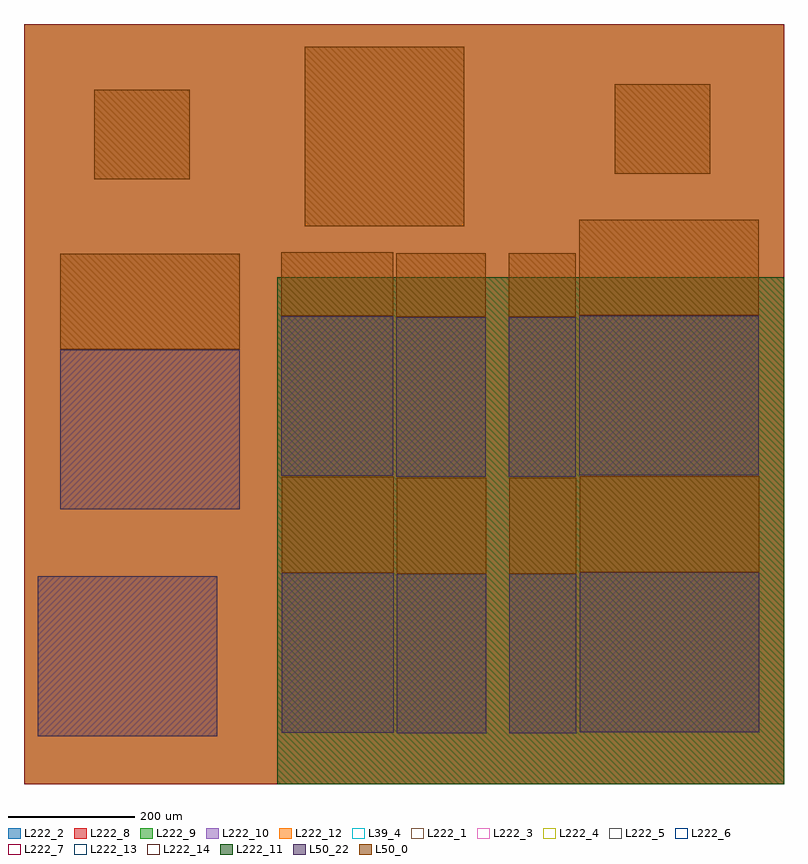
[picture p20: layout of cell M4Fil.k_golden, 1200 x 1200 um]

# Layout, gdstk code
import gdstk
lib = gdstk.Library(unit=1e-6, precision=1e-09)
def R(c, l, rs):  # rectangles x0, y0, x1, y1
    for r in rs: c.add(gdstk.rectangle(r[:2], r[2:], *l))
def A(c, l, x, y, w, h, nx, ny, dx, dy):  # array of equal rectangles
    R(c, l, [(x+i*dx, y+j*dy, x+i*dx+w, y+j*dy+h) for i in range(nx) for j in range(ny)])
L39_4 = (39, 4)
L50_0 = (50, 0)
L50_22 = (50, 22)
L222_1 = (222, 1)
L222_2 = (222, 2)
L222_3 = (222, 3)
L222_4 = (222, 4)
L222_5 = (222, 5)
L222_6 = (222, 6)
L222_7 = (222, 7)
L222_8 = (222, 8)
L222_9 = (222, 9)
L222_10 = (222, 10)
L222_11 = (222, 11)
L222_12 = (222, 12)
L222_13 = (222, 13)
L222_14 = (222, 14)

m4fil_k_golden = lib.new_cell('M4Fil.k_golden')
R(m4fil_k_golden, L39_4, [(0,0,1200,1200)])
A(m4fil_k_golden, L50_0, 588.553, 332.34, 35, 50, 4, 3, 35.5, 50.5)
A(m4fil_k_golden, L50_0, 766.053, 332.34, 35, 50, 3, 3, 35.5, 50.5)
A(m4fil_k_golden, L50_0, 406.703, 333.772, 35, 50, 5, 3, 35.5, 50.5)
A(m4fil_k_golden, L50_0, 877.169, 334.577, 35, 50, 8, 3, 35.5, 50.5)
A(m4fil_k_golden, L50_0, 56.984, 686.085, 35, 50, 8, 3, 35.5, 50.5)
A(m4fil_k_golden, L50_0, 587.855, 737.78, 35, 50, 4, 2, 35.5, 50.5)
A(m4fil_k_golden, L50_0, 765.355, 737.78, 35, 50, 3, 2, 35.5, 50.5)
A(m4fil_k_golden, L50_0, 406.005, 739.212, 35, 50, 5, 2, 35.5, 50.5)
A(m4fil_k_golden, L50_0, 876.471, 740.017, 35, 50, 8, 3, 35.5, 50.5)
A(m4fil_k_golden, L50_0, 443.264, 880.395, 50, 35, 5, 8, 50.5, 35.5)
A(m4fil_k_golden, L50_0, 110.744, 954.8, 50, 35, 3, 4, 50.5, 35.5)
A(m4fil_k_golden, L50_0, 932.374, 963.235, 50, 35, 3, 4, 50.5, 35.5)
A(m4fil_k_golden, L50_22, 21.749, 75.685, 35, 50, 8, 5, 35.5, 50.5)
A(m4fil_k_golden, L50_22, 588.553, 79.84, 35, 50, 4, 5, 35.5, 50.5)
A(m4fil_k_golden, L50_22, 766.053, 79.84, 35, 50, 3, 5, 35.5, 50.5)
A(m4fil_k_golden, L50_22, 406.703, 81.272, 35, 50, 5, 5, 35.5, 50.5)
A(m4fil_k_golden, L50_22, 877.169, 82.077, 35, 50, 8, 5, 35.5, 50.5)
A(m4fil_k_golden, L50_22, 56.984, 433.585, 35, 50, 8, 5, 35.5, 50.5)
A(m4fil_k_golden, L50_22, 587.855, 485.28, 35, 50, 4, 5, 35.5, 50.5)
A(m4fil_k_golden, L50_22, 765.355, 485.28, 35, 50, 3, 5, 35.5, 50.5)
A(m4fil_k_golden, L50_22, 406.005, 486.712, 35, 50, 5, 5, 35.5, 50.5)
A(m4fil_k_golden, L50_22, 876.471, 487.517, 35, 50, 8, 5, 35.5, 50.5)
R(m4fil_k_golden, L222_1, [(0,0,1200,1200)])
R(m4fil_k_golden, L222_2, [(0,0,800,800), (400,0,1200,800), (0,400,800,1200), (400,400,1200,1200)])
R(m4fil_k_golden, L222_3, [(0,0,1200,1200)])
R(m4fil_k_golden, L222_4, [(0,0,1200,1200)])
R(m4fil_k_golden, L222_5, [(0,0,1200,1200)])
R(m4fil_k_golden, L222_6, [(0,0,1200,1200)])
R(m4fil_k_golden, L222_7, [(0,0,1200,1200)])
R(m4fil_k_golden, L222_8, [(0,0,800,800), (400,0,1200,800), (0,400,800,1200), (400,400,1200,1200)])
R(m4fil_k_golden, L222_9, [(0,0,800,800), (400,0,1200,800), (0,400,800,1200), (400,400,1200,1200)])
R(m4fil_k_golden, L222_10, [(0,0,800,800), (400,0,1200,800), (0,400,800,1200), (400,400,1200,1200)])
R(m4fil_k_golden, L222_11, [(400,0,1200,800)])
R(m4fil_k_golden, L222_12, [(0,0,800,800), (400,0,1200,800), (0,400,800,1200), (400,400,1200,1200)])
R(m4fil_k_golden, L222_13, [(0,0,1200,1200)])
R(m4fil_k_golden, L222_14, [(0,0,1200,1200)])

lib.write_gds('M4Fil.k_golden.gds')
